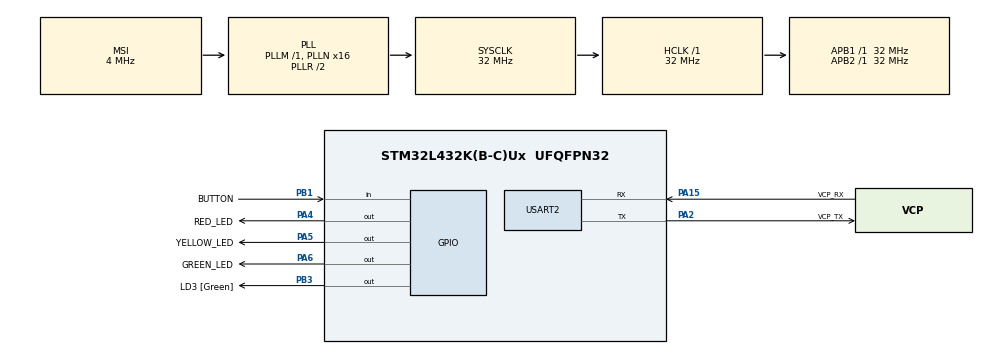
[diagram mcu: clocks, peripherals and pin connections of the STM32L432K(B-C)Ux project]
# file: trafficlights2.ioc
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Mcu.Family=STM32L4
Mcu.Name=STM32L432K(B-C)Ux
Mcu.Package=UFQFPN32
NVIC.PriorityGroup=NVIC_PRIORITYGROUP_4
PA0.GPIO_Label=MCO [High speed clock in]
PA0.Mode=HSE-External-Clock-Source-for-LittleOrca
PA0.Signal=RCC_CK_IN
PA13\ (JTMS-SWDIO).GPIO_Label=SWDIO
PA13\ (JTMS-SWDIO).Mode=Serial_Wire
PA13\ (JTMS-SWDIO).Signal=SYS_JTMS-SWDIO
PA14\ (JTCK-SWCLK).GPIO_Label=SWCLK
PA14\ (JTCK-SWCLK).Mode=Serial_Wire
PA14\ (JTCK-SWCLK).Signal=SYS_JTCK-SWCLK
PA15\ (JTDI).GPIO_Label=VCP_RX
PA15\ (JTDI).Mode=Asynchronous
PA15\ (JTDI).Signal=USART2_RX
PA2.GPIO_Label=VCP_TX
PA2.Mode=Asynchronous
PA2.Signal=USART2_TX
PA4.GPIO_Label=RED_LED
PA4.Signal=GPIO_Output
PA5.GPIO_Label=YELLOW_LED
PA5.Signal=GPIO_Output
PA6.GPIO_Label=GREEN_LED
PA6.Signal=GPIO_Output
PB1.GPIO_Label=BUTTON
PB1.Signal=GPIO_Input
PB3\ (JTDO-TRACESWO).GPIO_Label=LD3 [Green]
PB3\ (JTDO-TRACESWO).Signal=GPIO_Output
PC14-OSC32_IN\ (PC14).Mode=LSE-External-Oscillator
PC14-OSC32_IN\ (PC14).Signal=RCC_OSC32_IN
PC15-OSC32_OUT\ (PC15).Mode=LSE-External-Oscillator
PC15-OSC32_OUT\ (PC15).Signal=RCC_OSC32_OUT
ProjectManager.HeapSize=0x200
ProjectManager.StackSize=0x400
ProjectManager.TargetToolchain=Makefile
RCC.AHBFreq_Value=32000000
RCC.APB1Freq_Value=32000000
RCC.APB1TimFreq_Value=32000000
RCC.APB2Freq_Value=32000000
RCC.APB2TimFreq_Value=32000000
RCC.CortexFreq_Value=32000000
RCC.HCLKFreq_Value=32000000
RCC.HSE_VALUE=8000000
RCC.HSI16_VALUE=16000000
RCC.HSI48_VALUE=48000000
RCC.HSI_VALUE=16000000
RCC.MSI_VALUE=4000000
RCC.PLLMUL=RCC_PLLMUL_4
RCC.PLLN=16
RCC.SYSCLKFreq_VALUE=32000000
RCC.SYSCLKSource=RCC_SYSCLKSOURCE_PLLCLK
RCC.VCOOutputFreq_Value=64000000
USART2.VirtualMode-Asynchronous=VM_ASYNC
board=NUCLEO-L432KC

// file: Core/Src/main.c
/* USER CODE BEGIN Header */
/**
  ******************************************************************************
  * @file           : main.c
  * @brief          : Main program body
  ******************************************************************************
  * @attention
  *
  * Copyright (c) 2022 STMicroelectronics.
  * All rights reserved.
  *
  * This software is licensed under terms that can be found in the LICENSE file
  * in the root directory of this software component.
  * If no LICENSE file comes with this software, it is provided AS-IS.
  *
  ******************************************************************************
  */
/* USER CODE END Header */
#include "main.h"
#include "stdbool.h"

UART_HandleTypeDef huart2;

void SystemClock_Config(void);
static void MX_GPIO_Init(void);
static void MX_USART2_UART_Init(void);

/* USER CODE BEGIN 0 */
  bool button = false;
  bool buttonclick ()
	{
	 button =  HAL_GPIO_ReadPin(GPIOB, BUTTON_Pin);
	 bool off = !button && HAL_GPIO_ReadPin(GPIOB, BUTTON_Pin);
	 if(off){
		HAL_Delay(15);
	     if (HAL_GPIO_ReadPin(GPIOB, BUTTON_Pin)){ return true;}
		 }
		return false;
	}

  bool blink_mode(){

	bool off = true;
	HAL_GPIO_TogglePin(GPIOA, YELLOW_LED_Pin);
	int z = HAL_GetTick();

	while ( (HAL_GetTick() - z) < 500) {
		if( buttonclick ()) {
			off = false;
		}
	}
		return off;
	}

  void time(int y){

       bool loop = true;

         int x = HAL_GetTick();

         while ( (HAL_GetTick() - x) < y && loop)

    {

        if (buttonclick()) {
		HAL_GPIO_WritePin(GPIOA, RED_LED_Pin, GPIO_PIN_RESET);
		HAL_GPIO_WritePin(GPIOA, GREEN_LED_Pin, GPIO_PIN_RESET);

		while (loop) {
			loop = blink_mode();

            }

         }

      }

        }

/* USER CODE END 0 */

int main(void)
{

  /* MCU Configuration--------------------------------------------------------*/

  /* Reset of all peripherals, Initializes the Flash interface and the Systick. */
  HAL_Init();

  /* Configure the system clock */
  SystemClock_Config();

  /* Initialize all configured peripherals */
  MX_GPIO_Init();
  MX_USART2_UART_Init();

  /* Infinite loop */
  while (1)
  {
	HAL_GPIO_WritePin(GPIOA, RED_LED_Pin,GPIO_PIN_SET);
	time(1000);

        HAL_GPIO_WritePin(GPIOA, YELLOW_LED_Pin,GPIO_PIN_SET);
	time(500);

	HAL_GPIO_WritePin(GPIOA, RED_LED_Pin,GPIO_PIN_RESET);
	time(1000);

	HAL_GPIO_WritePin(GPIOA, YELLOW_LED_Pin,GPIO_PIN_RESET);
	time(500);

	HAL_GPIO_WritePin(GPIOA, GREEN_LED_Pin,GPIO_PIN_SET);
	time(1000);

	HAL_GPIO_WritePin(GPIOA, GREEN_LED_Pin,GPIO_PIN_RESET);
	time(1000);

  }
}

void SystemClock_Config(void)
{
  RCC_OscInitTypeDef RCC_OscInitStruct = {0};
  RCC_ClkInitTypeDef RCC_ClkInitStruct = {0};

  /** Configure the main internal regulator output voltage
  */
  if (HAL_PWREx_ControlVoltageScaling(PWR_REGULATOR_VOLTAGE_SCALE1) != HAL_OK)
  {
    Error_Handler();
  }

  /** Configure LSE Drive Capability
  */
  HAL_PWR_EnableBkUpAccess();
  __HAL_RCC_LSEDRIVE_CONFIG(RCC_LSEDRIVE_LOW);

  /** Initializes the RCC Oscillators according to the specified parameters
  * in the RCC_OscInitTypeDef structure.
  */
  RCC_OscInitStruct.OscillatorType = RCC_OSCILLATORTYPE_LSE|RCC_OSCILLATORTYPE_MSI;
  RCC_OscInitStruct.LSEState = RCC_LSE_ON;
  RCC_OscInitStruct.MSIState = RCC_MSI_ON;
  RCC_OscInitStruct.MSICalibrationValue = 0;
  RCC_OscInitStruct.MSIClockRange = RCC_MSIRANGE_6;
  RCC_OscInitStruct.PLL.PLLState = RCC_PLL_ON;
  RCC_OscInitStruct.PLL.PLLSource = RCC_PLLSOURCE_MSI;
  RCC_OscInitStruct.PLL.PLLM = 1;
  RCC_OscInitStruct.PLL.PLLN = 16;
  RCC_OscInitStruct.PLL.PLLP = RCC_PLLP_DIV7;
  RCC_OscInitStruct.PLL.PLLQ = RCC_PLLQ_DIV2;
  RCC_OscInitStruct.PLL.PLLR = RCC_PLLR_DIV2;
  if (HAL_RCC_OscConfig(&RCC_OscInitStruct) != HAL_OK)
  {
    Error_Handler();
  }

  /** Initializes the CPU, AHB and APB buses clocks
  */
  RCC_ClkInitStruct.ClockType = RCC_CLOCKTYPE_HCLK|RCC_CLOCKTYPE_SYSCLK
                              |RCC_CLOCKTYPE_PCLK1|RCC_CLOCKTYPE_PCLK2;
  RCC_ClkInitStruct.SYSCLKSource = RCC_SYSCLKSOURCE_PLLCLK;
  RCC_ClkInitStruct.AHBCLKDivider = RCC_SYSCLK_DIV1;
  RCC_ClkInitStruct.APB1CLKDivider = RCC_HCLK_DIV1;
  RCC_ClkInitStruct.APB2CLKDivider = RCC_HCLK_DIV1;

  if (HAL_RCC_ClockConfig(&RCC_ClkInitStruct, FLASH_LATENCY_1) != HAL_OK)
  {
    Error_Handler();
  }

  /** Enable MSI Auto calibration
  */
  HAL_RCCEx_EnableMSIPLLMode();
}

static void MX_USART2_UART_Init(void)
{

  huart2.Instance = USART2;
  huart2.Init.BaudRate = 115200;
  huart2.Init.WordLength = UART_WORDLENGTH_8B;
  huart2.Init.StopBits = UART_STOPBITS_1;
  huart2.Init.Parity = UART_PARITY_NONE;
  huart2.Init.Mode = UART_MODE_TX_RX;
  huart2.Init.HwFlowCtl = UART_HWCONTROL_NONE;
  huart2.Init.OverSampling = UART_OVERSAMPLING_16;
  huart2.Init.OneBitSampling = UART_ONE_BIT_SAMPLE_DISABLE;
  huart2.AdvancedInit.AdvFeatureInit = UART_ADVFEATURE_NO_INIT;
  if (HAL_UART_Init(&huart2) != HAL_OK)
  {
    Error_Handler();
  }

}

static void MX_GPIO_Init(void)
{
  GPIO_InitTypeDef GPIO_InitStruct = {0};

  /* GPIO Ports Clock Enable */
  __HAL_RCC_GPIOC_CLK_ENABLE();
  __HAL_RCC_GPIOA_CLK_ENABLE();
  __HAL_RCC_GPIOB_CLK_ENABLE();

  /*Configure GPIO pin Output Level */
  HAL_GPIO_WritePin(GPIOA, RED_LED_Pin|YELLOW_LED_Pin|GREEN_LED_Pin, GPIO_PIN_RESET);

  /*Configure GPIO pin Output Level */
  HAL_GPIO_WritePin(LD3_GPIO_Port, LD3_Pin, GPIO_PIN_RESET);

  /*Configure GPIO pins : RED_LED_Pin YELLOW_LED_Pin GREEN_LED_Pin */
  GPIO_InitStruct.Pin = RED_LED_Pin|YELLOW_LED_Pin|GREEN_LED_Pin;
  GPIO_InitStruct.Mode = GPIO_MODE_OUTPUT_PP;
  GPIO_InitStruct.Pull = GPIO_NOPULL;
  GPIO_InitStruct.Speed = GPIO_SPEED_FREQ_LOW;
  HAL_GPIO_Init(GPIOA, &GPIO_InitStruct);

  /*Configure GPIO pin : BUTTON_Pin */
  GPIO_InitStruct.Pin = BUTTON_Pin;
  GPIO_InitStruct.Mode = GPIO_MODE_INPUT;
  GPIO_InitStruct.Pull = GPIO_NOPULL;
  HAL_GPIO_Init(BUTTON_GPIO_Port, &GPIO_InitStruct);

  /*Configure GPIO pin : LD3_Pin */
  GPIO_InitStruct.Pin = LD3_Pin;
  GPIO_InitStruct.Mode = GPIO_MODE_OUTPUT_PP;
  GPIO_InitStruct.Pull = GPIO_NOPULL;
  GPIO_InitStruct.Speed = GPIO_SPEED_FREQ_LOW;
  HAL_GPIO_Init(LD3_GPIO_Port, &GPIO_InitStruct);

}

void Error_Handler(void)
{
  __disable_irq();
  while (1)
  {
  }
}
